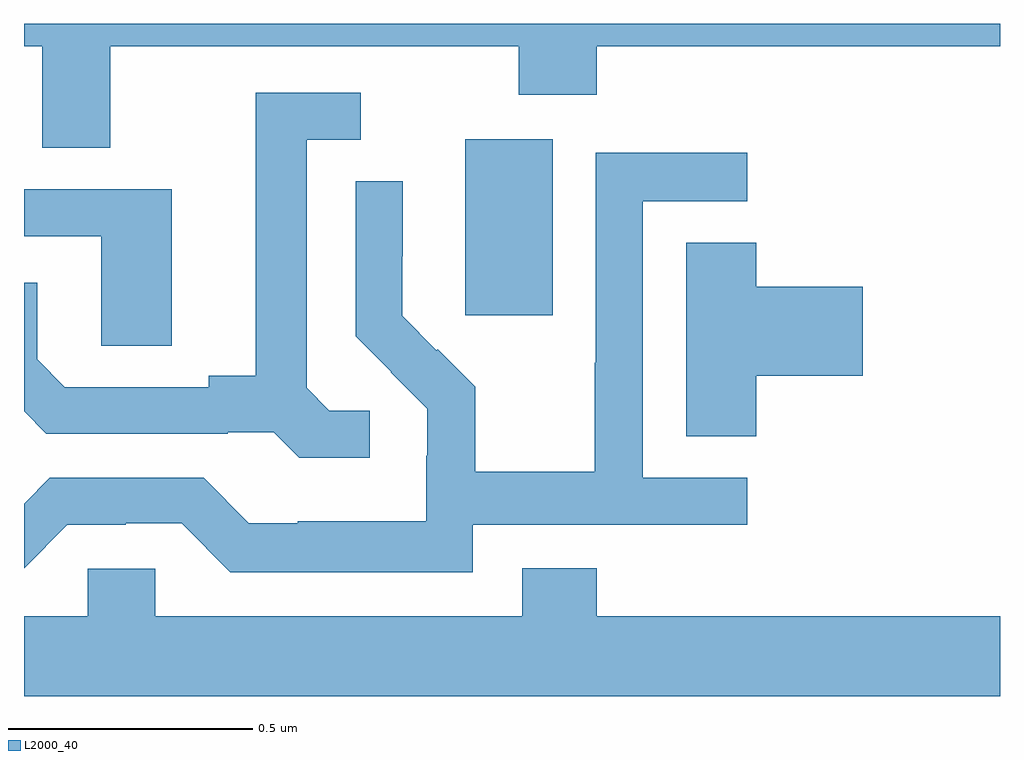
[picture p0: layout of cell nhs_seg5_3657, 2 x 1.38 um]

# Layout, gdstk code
import gdstk
lib = gdstk.Library(unit=1e-6, precision=1e-09)
def R(c, l, rs):  # rectangles x0, y0, x1, y1
    for r in rs: c.add(gdstk.rectangle(r[:2], r[2:], *l))
def P(c, l, *ps):  # polygons
    for p in ps: c.add(gdstk.Polygon(p, *l))
L2000_40 = (2000, 40)

nhs_seg5_3657 = lib.new_cell('nhs_seg5_3657')
R(nhs_seg5_3657, L2000_40, [(160.904,864.201,161.083,864.562)])
P(nhs_seg5_3657, L2000_40, [(160.177,864.752),(161.014,864.752),(161.014,864.653),(161.174,864.653),(161.174,864.752),(162,864.752),(162,864.799),(160,864.799),(160,864.752),(160.037,864.752),(160.037,864.544),(160.177,864.544)],
  [(160.708,864.006),(160.626,864.006),(160.579,864.053),(160.579,864.561),(160.69,864.561),(160.69,864.657),(160.475,864.657),(160.475,864.077),(160.379,864.077),(160.379,864.054),(160.084,864.054),(160.027,864.111),(160.027,864.268),(160,864.268),(160,864.004),(160.046,863.958),(160.418,863.958),(160.418,863.961),(160.512,863.961),(160.564,863.909),(160.708,863.909)],
  [(160.92,863.772),(161.482,863.772),(161.482,863.868),(161.268,863.868),(161.268,864.435),(161.482,864.435),(161.482,864.534),(161.172,864.534),(161.172,864.104),(161.17,864.104),(161.17,863.881),(160.925,863.881),(160.925,864.055),(160.848,864.132),(160.845,864.129),(160.775,864.2),(160.775,864.322),(160.776,864.322),(160.776,864.476),(160.68,864.476),(160.68,864.158),(160.753,864.085),(160.752,864.084),(160.826,864.01),(160.826,863.913),(160.824,863.913),(160.824,863.779),(160.561,863.779),(160.561,863.775),(160.461,863.775),(160.368,863.868),(160.053,863.868),(160,863.815),(160,863.683),(160.089,863.772),(160.208,863.772),(160.208,863.775),(160.323,863.775),(160.423,863.675),(160.92,863.675)],
  [(160.303,864.459),(160,864.459),(160,864.363),(160.158,864.363),(160.158,864.139),(160.303,864.139)],
  [(161.501,864.077),(161.719,864.077),(161.719,864.26),(161.501,864.26),(161.501,864.35),(161.357,864.35),(161.357,863.953),(161.501,863.953)],
  [(162,863.584),(161.174,863.584),(161.174,863.683),(161.021,863.683),(161.021,863.584),(160.269,863.584),(160.269,863.682),(160.131,863.682),(160.131,863.584),(160,863.584),(160,863.42),(162,863.42)])

lib.write_gds('nhs_seg5_3657.gds')
